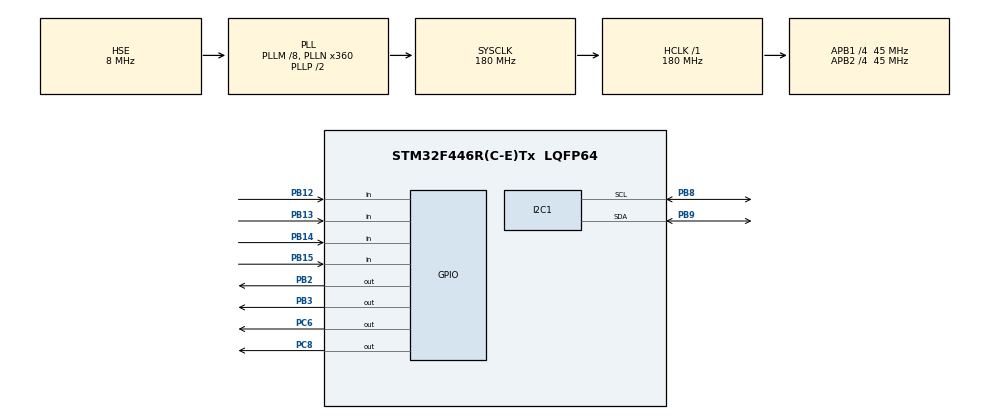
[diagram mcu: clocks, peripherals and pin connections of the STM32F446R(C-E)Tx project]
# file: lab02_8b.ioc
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I2C1.I2C_Mode=I2C_Fast
Mcu.Family=STM32F4
Mcu.Name=STM32F446R(C-E)Tx
Mcu.Package=LQFP64
NVIC.PriorityGroup=NVIC_PRIORITYGROUP_4
NVIC.RTC_Alarm_IRQn=true\:0\:0\:false\:false\:true\:true\:true\:true
PA13.Mode=Serial_Wire
PA13.Signal=SYS_JTMS-SWDIO
PA14.Mode=Serial_Wire
PA14.Signal=SYS_JTCK-SWCLK
PB12.Signal=GPIO_Input
PB13.Signal=GPIO_Input
PB14.Signal=GPIO_Input
PB15.Signal=GPIO_Input
PB2.Signal=GPIO_Output
PB3.Signal=GPIO_Output
PB8.Mode=I2C
PB8.Signal=I2C1_SCL
PB9.Mode=I2C
PB9.Signal=I2C1_SDA
PC6.Signal=GPIO_Output
PC8.Signal=GPIO_Output
PH0-OSC_IN.Mode=HSE-External-Oscillator
PH0-OSC_IN.Signal=RCC_OSC_IN
PH1-OSC_OUT.Mode=HSE-External-Oscillator
PH1-OSC_OUT.Signal=RCC_OSC_OUT
ProjectManager.HeapSize=0x200
ProjectManager.StackSize=0x400
ProjectManager.TargetToolchain=STM32CubeIDE
RCC.AHBFreq_Value=180000000
RCC.APB1CLKDivider=RCC_HCLK_DIV4
RCC.APB1Freq_Value=45000000
RCC.APB1TimFreq_Value=90000000
RCC.APB2CLKDivider=RCC_HCLK_DIV4
RCC.APB2Freq_Value=45000000
RCC.APB2TimFreq_Value=90000000
RCC.CortexFreq_Value=180000000
RCC.HCLKFreq_Value=180000000
RCC.HSE_VALUE=8000000
RCC.PLLM=8
RCC.PLLN=360
RCC.PLLSourceVirtual=RCC_PLLSOURCE_HSE
RCC.RCC_RTC_Clock_SourceVirtual=RCC_RTCCLKSOURCE_HSE_DIV25
RCC.RCC_RTC_Clock_Source_FROM_HSE=RCC_RTCCLKSOURCE_HSE_DIV25
RCC.SYSCLKFreq_VALUE=180000000
RCC.SYSCLKSource=RCC_SYSCLKSOURCE_PLLCLK
RCC.USBFreq_Value=180000000
RCC.VCOOutputFreq_Value=360000000
RTC.Alarm=RTC_ALARM_A
RTC.AlarmMaskDateWeekDay=RTC_ALARMMASK_DATEWEEKDAY
RTC.AlarmMaskHours=RTC_ALARMMASK_HOURS
RTC.AlarmMaskMinutes=RTC_ALARMMASK_MINUTES
RTC.HourFormat=RTC_HOURFORMAT_12
RTC.Seconds_A=1
RTC.SynchPrediv=2499
VP_RTC_VS_RTC_Activate.Mode=RTC_Enabled
VP_RTC_VS_RTC_Alarm_A_Intern.Mode=Alarm A
VP_RTC_VS_RTC_Calendar.Mode=RTC_Calendar
board=custom

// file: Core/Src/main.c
/* USER CODE BEGIN Header */
/**
  ******************************************************************************
  * @file           : main.c
  * @brief          : Main program body
  ******************************************************************************
  * @attention
  *
  * Copyright (c) 2026 STMicroelectronics.
  * All rights reserved.
  *
  * This software is licensed under terms that can be found in the LICENSE file
  * in the root directory of this software component.
  * If no LICENSE file comes with this software, it is provided AS-IS.
  *
  ******************************************************************************
  */
/* USER CODE END Header */
#include "main.h"

/* USER CODE BEGIN Includes */
#include <stdio.h>
#include <string.h>
#include "ssd1306.h"
/* USER CODE END Includes */

/* USER CODE BEGIN PD */
#define DELAY 30
/* USER CODE END PD */

I2C_HandleTypeDef hi2c1;

RTC_HandleTypeDef hrtc;

/* USER CODE BEGIN PV */
char time[64];
char date[64];
uint8_t serialIn[32];
RTC_TimeTypeDef sTime;
RTC_DateTypeDef sDate;
char month[13][4] = {"---","Jan","Feb","Mar","Apr","May","Jun","Jul","Aug","Sep","Oct","Nov","Dec"};
char maxDay[13] = {0,31,28,31,30,31,30,31,31,30,31,30,31};
int mode=0;
char modest[6][6]={"run","Date","Mon","Year","Hour","Min"};
int modeCount,displayRefresh=0;
//char sdate[7][4]={"Su","Mo","Tu","We","Th","Fr","Sa"};

RTC_TimeTypeDef sTime={0};
RTC_DateTypeDef sDate={0};

RTC_AlarmTypeDef alarmA = {0};

//LED1-4
GPIO_TypeDef *ledPort[4] = {GPIOB,GPIOC,GPIOC,GPIOB};
int ledGPIO[4] = {GPIO_PIN_2,GPIO_PIN_6,GPIO_PIN_8,GPIO_PIN_3};

//SWITCH1-4
GPIO_TypeDef *keyPort[4] = {GPIOB,GPIOB,GPIOB,GPIOB};
int keyGPIO[4] = {GPIO_PIN_15,GPIO_PIN_12,GPIO_PIN_13,GPIO_PIN_14};
/* USER CODE END PV */

void SystemClock_Config(void);
static void MX_GPIO_Init(void);
static void MX_I2C1_Init(void);
static void MX_RTC_Init(void);

/* USER CODE BEGIN 0 */
/* Returns the number of days to the start of the specified year, taking leap
 * years into account, but not the shift from the Julian calendar to the
 * Gregorian calendar. Instead, it is as though the Gregorian calendar is
 * extrapolated back in time to a hypothetical "year zero".
 */
int leap (int year)
{
  return year*365 + (year/4) - (year/100) + (year/400);
}

/* Returns a number representing the number of days since March 1 in the
 * hypothetical year 0, not counting the change from the Julian calendar
 * to the Gregorian calendar that occured in the 16th century. This
 * algorithm is loosely based on a function known as "Zeller's Congruence".
 * This number MOD 7 gives the day of week, where 0 = Monday and 6 = Sunday.
 */
int zeller (int year, int month, int day)
{
  year += ((month+9)/12) - 1;
  month = (month+9) % 12;
  return leap (year) + month*30 + ((6*month+5)/10) + day + 1;
}

/* Returns the day of week (1=Monday, 7=Sunday) for a given date.
 */
int dow (int year, int month, int day)
{
  return (zeller (year, month, day) % 7) + 1;
}

int isLeapYear(int year){
	return (year%4)==0;
}
int getch(int sw){
	if(HAL_GPIO_ReadPin(keyPort[sw],keyGPIO[sw]))
		return 0; //not pressed
	HAL_GPIO_WritePin(ledPort[3-sw],ledGPIO[3-sw],1);
	//Wait for key unpressed
	while(!HAL_GPIO_ReadPin(keyPort[sw],keyGPIO[sw]))
		HAL_Delay(10);
	HAL_GPIO_WritePin(ledPort[3-sw],ledGPIO[3-sw],0);
	return 1;
}

void HAL_RTC_AlarmAEventCallback(RTC_HandleTypeDef *hrtc) {
  RTC_AlarmTypeDef sAlarm;
  HAL_RTC_GetAlarm(hrtc,&sAlarm,RTC_ALARM_A,FORMAT_BIN);
  if(sAlarm.AlarmTime.Seconds>58) {
    sAlarm.AlarmTime.Seconds=0;
  }else{
    sAlarm.AlarmTime.Seconds=sAlarm.AlarmTime.Seconds+1;
  }
    while(HAL_RTC_SetAlarm_IT(hrtc, &sAlarm, FORMAT_BIN)!=HAL_OK){}
    HAL_GPIO_TogglePin(ledPort[3], ledGPIO[3]);
    displayRefresh = 1;
}
/* USER CODE END 0 */

int main(void)
{

  /* MCU Configuration--------------------------------------------------------*/

  /* Reset of all peripherals, Initializes the Flash interface and the Systick. */
  HAL_Init();

  /* Configure the system clock */
  SystemClock_Config();

  /* Initialize all configured peripherals */
  MX_GPIO_Init();
  MX_I2C1_Init();
  MX_RTC_Init();
  /* USER CODE BEGIN 2 */
  ssd1306_Init();
  modeCount=DELAY;
  /* USER CODE END 2 */

  /* Infinite loop */
  /* USER CODE BEGIN WHILE */
  while (1)
  {
    HAL_RTC_GetTime(&hrtc,&sTime,RTC_FORMAT_BIN);
	HAL_RTC_GetDate(&hrtc,&sDate,RTC_FORMAT_BIN);

	if(displayRefresh){
		sprintf(date,"%.02d/%s/%.02d",sDate.Date,month[sDate.Month],sDate.Year);
		sprintf(time,"%.02d:%.02d:%.02d %s",sTime.Hours,sTime.Minutes,sTime.Seconds,
			      sTime.TimeFormat==RTC_HOURFORMAT12_AM?"AM":"PM");
		ssd1306_Fill(Black);
		ssd1306_SetCursor(0,0);
		if((mode>0)&&(mode<4)&&((modeCount%4)<1))
			ssd1306_WriteString("",Font_7x10,White);
		else
			ssd1306_WriteString(date,Font_7x10,White);
		ssd1306_SetCursor(0,12);
		if((mode>3)&&((modeCount%4)<1))
			ssd1306_WriteString("",Font_11x18,White);
		else
			ssd1306_WriteString(time,Font_11x18,White);
		ssd1306_SetCursor(80,2);
		ssd1306_WriteString(modest[mode],Font_6x8,White);
		ssd1306_UpdateScreen();
		displayRefresh = 0;
	}
	if(getch(0)){
		mode = (mode+1)%6;
		modeCount=DELAY;
	}
	if(mode>0){
		displayRefresh = 1;
		modeCount--;
		if(modeCount<0){
			mode=0; //Back to display onnly
			continue;
		}

		HAL_RTC_GetTime(&hrtc,&sTime,RTC_FORMAT_BIN);
		HAL_RTC_GetDate(&hrtc,&sDate,RTC_FORMAT_BIN);
		switch(mode){
		case 1://Day
			if(getch(1)){ sDate.Date--; modeCount=DELAY;}
			if(getch(2)){ sDate.Date++; modeCount=DELAY;}
			break;
		case 2://Month
			if(getch(1)){
				if(sDate.Month<=1) sDate.Month = 12;
				else sDate.Month--;
				modeCount=DELAY;
			}
			if(getch(2)){
				if(sDate.Month>=12) sDate.Month = 1;
				else sDate.Month++;
				modeCount=DELAY;
			}
			break;
		case 3: // Year
			if(getch(1)){
				if(sDate.Year<=1) sDate.Year = 99;
				else sDate.Year--;
				modeCount=DELAY;
			}
			if(getch(2)){
				if(sDate.Year>=99) sDate.Year = 0;
				else sDate.Year++;
				modeCount=DELAY;
			}
			break;
		case 4: //Hour
			if(getch(1)){
				if(sTime.Hours<=1)sTime.Hours=12;
				else sTime.Hours--;
				modeCount=DELAY;
			}
			if(getch(2)){
				if(sTime.Hours>=12)sTime.Hours=1;
				else sTime.Hours++;
				modeCount=DELAY;
			}
			if(getch(3)){ //AM-PM selection
				if(sTime.TimeFormat==RTC_HOURFORMAT12_AM)
				   sTime.TimeFormat = RTC_HOURFORMAT12_PM;
				else
					sTime.TimeFormat = RTC_HOURFORMAT12_AM;
				modeCount=DELAY;
			}
			break;
		case 5: //Minute
			if(getch(1)){
				if(sTime.Minutes<=0)sTime.Minutes=59;
				else sTime.Minutes--;
				modeCount=DELAY;
			}
			if(getch(2)){
				if(sTime.Minutes>=59)sTime.Minutes=0;
				else sTime.Minutes++;
				modeCount=DELAY;
			}
			break;
		}
			//roll over date
		if(sDate.Date < 1){
			if (sDate.Month == 2){
				if(isLeapYear(sDate.Year))
					sDate.Date = 29;
				else
					sDate.Date = 28;
			}else
				sDate.Date = maxDay[sDate.Month];
		}
		else if(sDate.Date > maxDay[sDate.Month])
			sDate.Date = 1;

		//Update date and time
		HAL_RTC_SetTime(&hrtc, &sTime, RTC_FORMAT_BIN);
		HAL_RTC_SetDate(&hrtc, &sDate, RTC_FORMAT_BIN);
	}
	HAL_Delay(100);
    /* USER CODE END WHILE */

  }
}

void SystemClock_Config(void)
{
  RCC_OscInitTypeDef RCC_OscInitStruct = {0};
  RCC_ClkInitTypeDef RCC_ClkInitStruct = {0};

  /** Configure the main internal regulator output voltage
  */
  __HAL_RCC_PWR_CLK_ENABLE();
  __HAL_PWR_VOLTAGESCALING_CONFIG(PWR_REGULATOR_VOLTAGE_SCALE1);

  /** Initializes the RCC Oscillators according to the specified parameters
  * in the RCC_OscInitTypeDef structure.
  */
  RCC_OscInitStruct.OscillatorType = RCC_OSCILLATORTYPE_HSE;
  RCC_OscInitStruct.HSEState = RCC_HSE_ON;
  RCC_OscInitStruct.LSEState = RCC_LSE_OFF;
  RCC_OscInitStruct.PLL.PLLState = RCC_PLL_ON;
  RCC_OscInitStruct.PLL.PLLSource = RCC_PLLSOURCE_HSE;
  RCC_OscInitStruct.PLL.PLLM = 8;
  RCC_OscInitStruct.PLL.PLLN = 360;
  RCC_OscInitStruct.PLL.PLLP = RCC_PLLP_DIV2;
  RCC_OscInitStruct.PLL.PLLQ = 2;
  RCC_OscInitStruct.PLL.PLLR = 2;
  if (HAL_RCC_OscConfig(&RCC_OscInitStruct) != HAL_OK)
  {
    Error_Handler();
  }

  /** Activate the Over-Drive mode
  */
  if (HAL_PWREx_EnableOverDrive() != HAL_OK)
  {
    Error_Handler();
  }

  /** Initializes the CPU, AHB and APB buses clocks
  */
  RCC_ClkInitStruct.ClockType = RCC_CLOCKTYPE_HCLK|RCC_CLOCKTYPE_SYSCLK
                              |RCC_CLOCKTYPE_PCLK1|RCC_CLOCKTYPE_PCLK2;
  RCC_ClkInitStruct.SYSCLKSource = RCC_SYSCLKSOURCE_PLLCLK;
  RCC_ClkInitStruct.AHBCLKDivider = RCC_SYSCLK_DIV1;
  RCC_ClkInitStruct.APB1CLKDivider = RCC_HCLK_DIV4;
  RCC_ClkInitStruct.APB2CLKDivider = RCC_HCLK_DIV4;

  if (HAL_RCC_ClockConfig(&RCC_ClkInitStruct, FLASH_LATENCY_5) != HAL_OK)
  {
    Error_Handler();
  }
}

static void MX_I2C1_Init(void)
{

  hi2c1.Instance = I2C1;
  hi2c1.Init.ClockSpeed = 400000;
  hi2c1.Init.DutyCycle = I2C_DUTYCYCLE_2;
  hi2c1.Init.OwnAddress1 = 0;
  hi2c1.Init.AddressingMode = I2C_ADDRESSINGMODE_7BIT;
  hi2c1.Init.DualAddressMode = I2C_DUALADDRESS_DISABLE;
  hi2c1.Init.OwnAddress2 = 0;
  hi2c1.Init.GeneralCallMode = I2C_GENERALCALL_DISABLE;
  hi2c1.Init.NoStretchMode = I2C_NOSTRETCH_DISABLE;
  if (HAL_I2C_Init(&hi2c1) != HAL_OK)
  {
    Error_Handler();
  }

}

static void MX_RTC_Init(void)
{

  RTC_TimeTypeDef sTime = {0};
  RTC_DateTypeDef sDate = {0};
  RTC_AlarmTypeDef sAlarm = {0};

  /** Initialize RTC Only
  */
  hrtc.Instance = RTC;
  hrtc.Init.HourFormat = RTC_HOURFORMAT_12;
  hrtc.Init.AsynchPrediv = 127;
  hrtc.Init.SynchPrediv = 2499;
  hrtc.Init.OutPut = RTC_OUTPUT_DISABLE;
  hrtc.Init.OutPutPolarity = RTC_OUTPUT_POLARITY_HIGH;
  hrtc.Init.OutPutType = RTC_OUTPUT_TYPE_OPENDRAIN;
  if (HAL_RTC_Init(&hrtc) != HAL_OK)
  {
    Error_Handler();
  }

  /* USER CODE BEGIN Check_RTC_BKUP */
  while(0){ //skip this auto-generate code
  /* USER CODE END Check_RTC_BKUP */

  /** Initialize RTC and set the Time and Date
  */
  sTime.Hours = 0x1;
  sTime.Minutes = 0x0;
  sTime.Seconds = 0x0;
  sTime.TimeFormat = RTC_HOURFORMAT12_AM;
  sTime.DayLightSaving = RTC_DAYLIGHTSAVING_NONE;
  sTime.StoreOperation = RTC_STOREOPERATION_RESET;
  if (HAL_RTC_SetTime(&hrtc, &sTime, RTC_FORMAT_BCD) != HAL_OK)
  {
    Error_Handler();
  }
  sDate.WeekDay = RTC_WEEKDAY_MONDAY;
  sDate.Month = RTC_MONTH_JANUARY;
  sDate.Date = 0x1;
  sDate.Year = 0x0;

  if (HAL_RTC_SetDate(&hrtc, &sDate, RTC_FORMAT_BCD) != HAL_OK)
  {
    Error_Handler();
  }

  /** Enable the Alarm A
  */
  sAlarm.AlarmTime.Hours = 0x1;
  sAlarm.AlarmTime.Minutes = 0x0;
  sAlarm.AlarmTime.Seconds = 0x1;
  sAlarm.AlarmTime.SubSeconds = 0x0;
  sAlarm.AlarmTime.TimeFormat = RTC_HOURFORMAT12_AM;
  sAlarm.AlarmTime.DayLightSaving = RTC_DAYLIGHTSAVING_NONE;
  sAlarm.AlarmTime.StoreOperation = RTC_STOREOPERATION_RESET;
  sAlarm.AlarmMask = RTC_ALARMMASK_DATEWEEKDAY|RTC_ALARMMASK_HOURS
                              |RTC_ALARMMASK_MINUTES;
  sAlarm.AlarmSubSecondMask = RTC_ALARMSUBSECONDMASK_ALL;
  sAlarm.AlarmDateWeekDaySel = RTC_ALARMDATEWEEKDAYSEL_DATE;
  sAlarm.AlarmDateWeekDay = 0x1;
  sAlarm.Alarm = RTC_ALARM_A;
  if (HAL_RTC_SetAlarm_IT(&hrtc, &sAlarm, RTC_FORMAT_BCD) != HAL_OK)
  {
    Error_Handler();
  }
  /* USER CODE BEGIN RTC_Init 2 */
  } //Copy only alarm setting from above
  HAL_RTC_GetTime(&hrtc, &sTime, RTC_FORMAT_BIN);
  HAL_RTC_GetDate(&hrtc, &sDate, RTC_FORMAT_BIN);

  sAlarm.AlarmTime.Hours = 0x1;
  sAlarm.AlarmTime.Minutes = 0x0;
  sAlarm.AlarmTime.Seconds = sTime.Seconds<59?sTime.Seconds+1:0;
  sAlarm.AlarmTime.SubSeconds = 0x0;
  sAlarm.AlarmTime.TimeFormat = RTC_HOURFORMAT12_AM;
  sAlarm.AlarmTime.DayLightSaving = RTC_DAYLIGHTSAVING_NONE;
  sAlarm.AlarmTime.StoreOperation = RTC_STOREOPERATION_RESET;
  sAlarm.AlarmMask = RTC_ALARMMASK_DATEWEEKDAY|RTC_ALARMMASK_HOURS
                              |RTC_ALARMMASK_MINUTES;
  sAlarm.AlarmSubSecondMask = RTC_ALARMSUBSECONDMASK_ALL;
  sAlarm.AlarmDateWeekDaySel = RTC_ALARMDATEWEEKDAYSEL_DATE;
  sAlarm.AlarmDateWeekDay = 0x1;
  sAlarm.Alarm = RTC_ALARM_A;
  if (HAL_RTC_SetAlarm_IT(&hrtc, &sAlarm, RTC_FORMAT_BIN) != HAL_OK)
  {
    Error_Handler();
  }
  displayRefresh = 1;
  /* USER CODE END RTC_Init 2 */

}

static void MX_GPIO_Init(void)
{
  GPIO_InitTypeDef GPIO_InitStruct = {0};

  /* GPIO Ports Clock Enable */
  __HAL_RCC_GPIOH_CLK_ENABLE();
  __HAL_RCC_GPIOB_CLK_ENABLE();
  __HAL_RCC_GPIOC_CLK_ENABLE();
  __HAL_RCC_GPIOA_CLK_ENABLE();

  /*Configure GPIO pin Output Level */
  HAL_GPIO_WritePin(GPIOB, GPIO_PIN_2|GPIO_PIN_3, GPIO_PIN_RESET);

  /*Configure GPIO pin Output Level */
  HAL_GPIO_WritePin(GPIOC, GPIO_PIN_6|GPIO_PIN_8, GPIO_PIN_RESET);

  /*Configure GPIO pins : PB2 PB3 */
  GPIO_InitStruct.Pin = GPIO_PIN_2|GPIO_PIN_3;
  GPIO_InitStruct.Mode = GPIO_MODE_OUTPUT_PP;
  GPIO_InitStruct.Pull = GPIO_NOPULL;
  GPIO_InitStruct.Speed = GPIO_SPEED_FREQ_LOW;
  HAL_GPIO_Init(GPIOB, &GPIO_InitStruct);

  /*Configure GPIO pins : PB12 PB13 PB14 PB15 */
  GPIO_InitStruct.Pin = GPIO_PIN_12|GPIO_PIN_13|GPIO_PIN_14|GPIO_PIN_15;
  GPIO_InitStruct.Mode = GPIO_MODE_INPUT;
  GPIO_InitStruct.Pull = GPIO_NOPULL;
  HAL_GPIO_Init(GPIOB, &GPIO_InitStruct);

  /*Configure GPIO pins : PC6 PC8 */
  GPIO_InitStruct.Pin = GPIO_PIN_6|GPIO_PIN_8;
  GPIO_InitStruct.Mode = GPIO_MODE_OUTPUT_PP;
  GPIO_InitStruct.Pull = GPIO_NOPULL;
  GPIO_InitStruct.Speed = GPIO_SPEED_FREQ_LOW;
  HAL_GPIO_Init(GPIOC, &GPIO_InitStruct);

}

void Error_Handler(void)
{
  __disable_irq();
  while (1)
  {
  }
}
